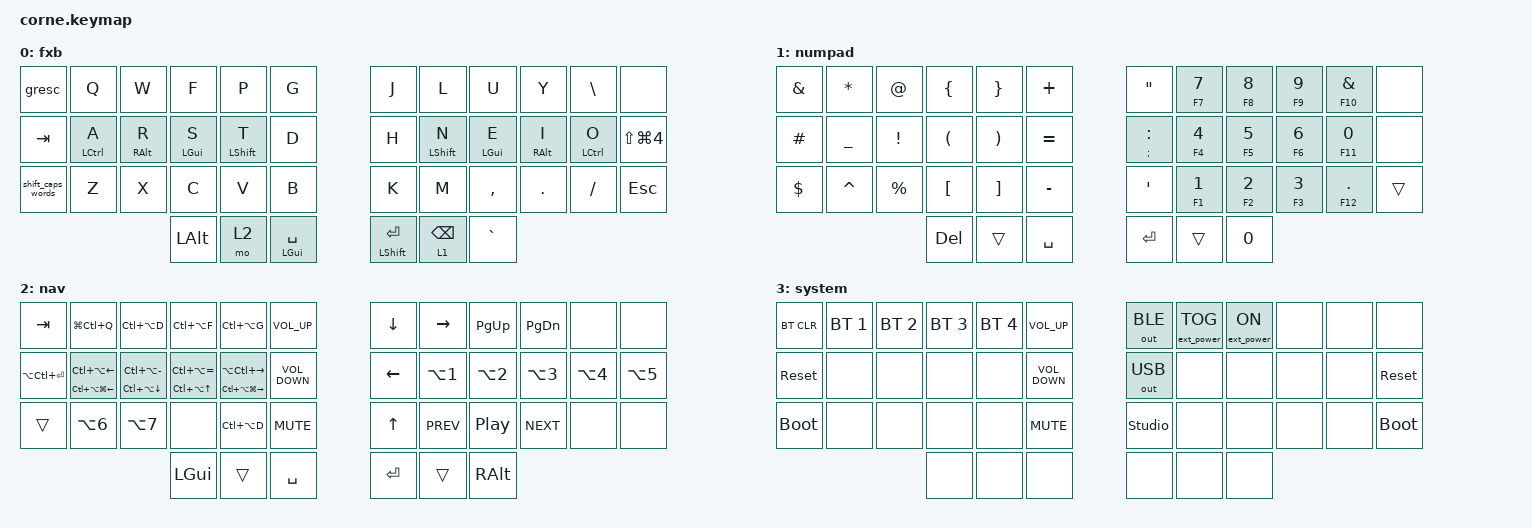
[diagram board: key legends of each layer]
/*
 * Copyright (c) 2020 The ZMK Contributors
 *
 * SPDX-License-Identifier: MIT
 */

#include <behaviors.dtsi>
#include <dt-bindings/zmk/bt.h>
#include <dt-bindings/zmk/ext_power.h>
#include <dt-bindings/zmk/keys.h>
#include <dt-bindings/zmk/outputs.h>
#include <dt-bindings/zmk/pointing.h>

#define KEYS_L 0 1 2 3 4 5 6 7 8 9 10 11 12 13 14 15 16 17 18 19 20  // Left-hand keys.
#define KEYS_R 0 1 2 3 4 5 6 7 8 9 10 11 12 13 14 15 16 17 18 19 20 // Right-hand keys.

&mt {
    tapping-term-ms = <150>;
    require-prior-idle-ms = <70>;
    flavor = "balanced";
    hold-trigger-key-positions = <KEYS_R KEYS_L>;
    hold-trigger-on-release;
};

&lt {
    tapping-term-ms = <100>;
    flavor = "balanced";
    quick-tap-ms = <140>;
    hold-trigger-on-release;
};

/ {
    zmk,ble { bt-name = "KiciBoard"; };

    combos {
        compatible = "zmk,combos";

        semicolon {
            bindings = <&kp SEMICOLON>;
            key-positions = <33 32>;
            layers = <0>;
        };

        spotlight {
            bindings = <&kp LG(SPACE)>;
            key-positions = <38 39>;
        };

        R_C_BRACE {
            bindings = <&kp RIGHT_BRACE>;
            key-positions = <5 4>;
            layers = <0>;
        };

        L_C_BRACE {
            bindings = <&kp LEFT_BRACE>;
            key-positions = <3 4>;
            layers = <0>;
        };

        R_PARENTHESES {
            bindings = <&kp RIGHT_PARENTHESIS>;
            key-positions = <17 16>;
        };

        L_PARENTHESES {
            bindings = <&kp LEFT_PARENTHESIS>;
            key-positions = <15 16>;
        };

        L_MOUSE {
            bindings = <&mkp LCLK>;
            key-positions = <38 37>;
        };

        R_MOUSE {
            bindings = <&mkp RCLK>;
            key-positions = <37 36>;
        };
    };

    behaviors {
        esc_grave: esc_grave {
            compatible = "zmk,behavior-tap-dance";
            label = "ESC_GRAVE";
            #binding-cells = <0>;
            bindings = <&kp ESC>, <&kp GRAVE>;
        };

        shift_cmd_tab: shift_cmd_tab {
            compatible = "zmk,behavior-tap-dance";
            label = "SHIFT_CMD_TAB";
            #binding-cells = <0>;
            bindings = <&kp LEFT_SHIFT>, <&kp LG(TAB)>;
        };

        shift_caps_words: shift_caps_words {
            compatible = "zmk,behavior-tap-dance";
            label = "SHIFT_CAPS_WORDS";
            #binding-cells = <0>;
            bindings = <&kp LEFT_SHIFT>, <&caps_word>;
        };
    };

    keymap {
        compatible = "zmk,keymap";

        colemak {
            // -----------------------------------------------------------------------------------------
            // |  TAB |  Q  |  W  |  E  |  R  |  T  |   |  Y  |  U   |  I  |  O  |  P  | BKSP |
            // | CTRL |  A  |  S  |  D  |  F  |  G  |   |  H  |  J   |  K  |  L  |  ;  |  '   |
            // | SHFT |  Z  |  X  |  C  |  V  |  B  |   |  N  |  M   |  ,  |  .  |  /  | ESC  |
            //                    | GUI | LWR | SPC |   | ENT | RSE  | ALT |

            bindings = <
&gresc             &kp Q        &kp W            &kp F           &kp P             &kp G                 &kp J                  &kp L             &kp U           &kp Y            &kp BACKSLASH  &none
&kp TAB            &mt LCTRL A  &mt RIGHT_ALT R  &mt LEFT_GUI S  &mt LEFT_SHIFT T  &kp D                 &kp H                  &mt LEFT_SHIFT N  &mt LEFT_GUI E  &mt RIGHT_ALT I  &mt LCTRL O    &kp LS(LG(NUMBER_4))
&shift_caps_words  &kp Z        &kp X            &kp C           &kp V             &kp B                 &kp K                  &kp M             &kp COMMA       &kp DOT          &kp FSLH       &kp ESC
                                                 &kp LEFT_ALT    &mo 2             &mt LEFT_GUI SPACE    &mt LEFT_SHIFT RETURN  &lt 1 BACKSPACE   &kp GRAVE
            >;

            label = "fxb";
        };

        raise_layer {
            // -----------------------------------------------------------------------------------------
            // |  TAB |  !  |  @  |  #  |  $  |  %  |   |  ^  |  &  |  *  |  (  |  )  | BKSP |
            // | CTRL |     |     |     |     |     |   |  -  |  =  |  [  |  ]  |  \  |  `   |
            // | SHFT |     |     |     |     |     |   |  _  |  +  |  {  |  }  | "|" |  ~   |
            //                    | GUI |     | SPC |   | ENT |     | ALT |

            bindings = <
&kp AMPERSAND  &kp ASTERISK    &kp AT_SIGN      &kp LEFT_BRACE        &kp RIGHT_BRACE        &kp PLUS     &kp DOUBLE_QUOTES    &mt F7 N7        &mt F8 N8        &mt F9 N9        &mt F10 AMPERSAND  &none
&kp HASH       &kp UNDERSCORE  &kp EXCLAMATION  &kp LEFT_PARENTHESIS  &kp RIGHT_PARENTHESIS  &kp EQUAL    &mt SEMICOLON COLON  &mt F4 NUMBER_4  &mt F5 N5        &mt F6 NUMBER_6  &mt F11 NUMBER_0   &none
&kp DOLLAR     &kp CARET       &kp PERCENT      &kp LEFT_BRACKET      &kp RIGHT_BRACKET      &kp MINUS    &kp SQT              &mt F1 NUMBER_1  &mt F2 NUMBER_2  &mt F3 NUMBER_3  &mt F12 PERIOD     &trans
                                                &kp DELETE            &trans                 &kp SPACE    &kp RET              &trans           &kp NUMBER_0
            >;

            label = "numpad";
        };

        lower_layer {
            // -----------------------------------------------------------------------------------------
            // |  TAB |  1  |  2  |  3  |  4  |  5  |   |  6  |  7  |  8  |  9  |  0  | BKSP |
            // | BTCLR| BT1 | BT2 | BT3 | BT4 | BT5 |   | LFT | DWN |  UP | RGT |     |      |
            // | SHFT |     |     |     |     |     |   |     |     |     |     |     |      |
            //                    | GUI |     | SPC |   | ENT |     | ALT |

            bindings = <
&kp TAB            &kp LG(LC(Q))                                  &kp LC(LA(D))                         &kp LC(LA(F))                       &kp LC(LA(G))                        &kp K_VOLUME_UP      &kp DOWN_ARROW  &kp RIGHT         &kp PAGE_UP       &kp PAGE_DOWN     &none             &none
&kp LA(LC(ENTER))  &mt LC(LA(LG(LEFT_ARROW))) LC(LA(LEFT_ARROW))  &mt LC(LA(DOWN_ARROW)) LC(LA(MINUS))  &mt LC(LA(UP_ARROW)) LC(LA(EQUAL))  &mt LC(LA(LG(RIGHT))) LA(LC(RIGHT))  &kp K_VOLUME_DOWN    &kp LEFT        &kp LA(NUMBER_1)  &kp LA(NUMBER_2)  &kp LA(NUMBER_3)  &kp LA(NUMBER_4)  &kp LA(N5)
&trans             &kp LA(NUMBER_6)                               &kp LA(N7)                            &none                               &kp LC(LA(D))                        &kp K_MUTE           &kp UP_ARROW    &kp C_PREV        &kp C_PLAY_PAUSE  &kp C_NEXT        &none             &none
                                                                                                        &kp LGUI                            &trans                               &kp SPACE            &kp RET         &trans            &kp RALT
            >;

            label = "nav";
        };

        conditonal_layer {
            bindings = <
&bt BT_CLR   &bt BT_SEL 1  &bt BT_SEL 2  &bt BT_SEL 3  &bt BT_SEL 4  &kp K_VOL_UP         &out OUT_BLE    &ext_power EP_TOG  &ext_power EP_ON  &none  &none  &none
&sys_reset   &none         &none         &none         &none         &kp K_VOLUME_DOWN    &out OUT_USB    &none              &none             &none  &none  &sys_reset
&bootloader  &none         &none         &none         &none         &kp K_MUTE           &studio_unlock  &none              &none             &none  &none  &bootloader
                                         &none         &none         &none                &none           &none              &none
            >;

            label = "system";
        };
    };

    conditional_layers {
        compatible = "zmk,conditional-layers";

        conditional {
            if-layers = <1 2>;
            then-layer = <3>;
        };
    };
};
